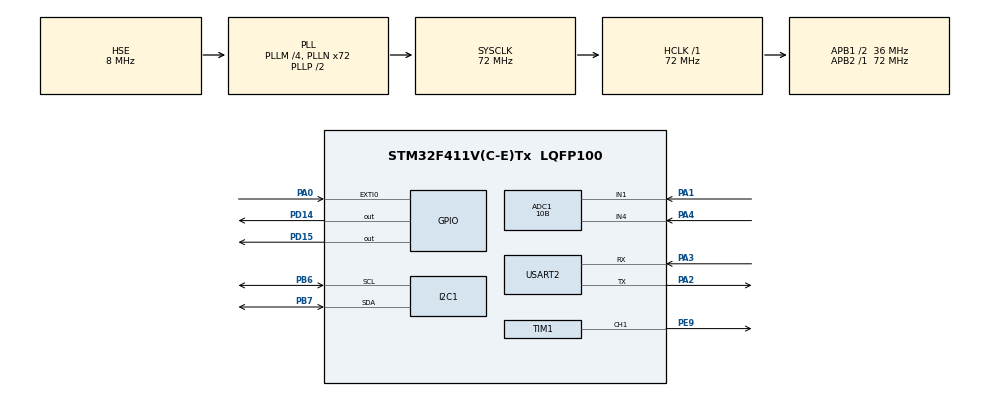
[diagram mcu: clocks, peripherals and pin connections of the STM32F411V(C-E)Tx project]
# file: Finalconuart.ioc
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ADC1.Channel-0\#ChannelRegularConversion=ADC_CHANNEL_4
ADC1.Channel-1\#ChannelRegularConversion=ADC_CHANNEL_1
ADC1.ContinuousConvMode=ENABLE
ADC1.NbrOfConversion=2
ADC1.NbrOfConversionFlag=1
ADC1.Rank-0\#ChannelRegularConversion=1
ADC1.Rank-1\#ChannelRegularConversion=2
ADC1.Resolution=ADC_RESOLUTION_10B
ADC1.SamplingTime-0\#ChannelRegularConversion=ADC_SAMPLETIME_3CYCLES
ADC1.SamplingTime-1\#ChannelRegularConversion=ADC_SAMPLETIME_3CYCLES
ADC1.ScanConvMode=ENABLE
ADC1.master=1
Dma.ADC1.0.Direction=DMA_PERIPH_TO_MEMORY
Dma.ADC1.0.FIFOMode=DMA_FIFOMODE_DISABLE
Dma.ADC1.0.Instance=DMA2_Stream0
Dma.ADC1.0.MemDataAlignment=DMA_MDATAALIGN_WORD
Dma.ADC1.0.MemInc=DMA_MINC_ENABLE
Dma.ADC1.0.Mode=DMA_CIRCULAR
Dma.ADC1.0.PeriphDataAlignment=DMA_PDATAALIGN_WORD
Dma.ADC1.0.PeriphInc=DMA_PINC_DISABLE
Dma.ADC1.0.Priority=DMA_PRIORITY_LOW
Dma.Request0=ADC1
Mcu.Family=STM32F4
Mcu.Name=STM32F411V(C-E)Tx
Mcu.Package=LQFP100
NVIC.DMA2_Stream0_IRQn=true\:0\:0\:false\:false\:true\:false\:true\:true
NVIC.EXTI0_IRQn=true\:0\:0\:false\:false\:true\:true\:true\:true
NVIC.PriorityGroup=NVIC_PRIORITYGROUP_0
NVIC.USART2_IRQn=true\:0\:0\:false\:false\:true\:true\:true\:true
PA0-WKUP.Signal=GPXTI0
PA1.Signal=ADCx_IN1
PA13.Mode=Serial_Wire
PA13.Signal=SYS_JTMS-SWDIO
PA14.Mode=Serial_Wire
PA14.Signal=SYS_JTCK-SWCLK
PA2.Mode=Asynchronous
PA2.Signal=USART2_TX
PA3.Mode=Asynchronous
PA3.Signal=USART2_RX
PA4.Signal=ADCx_IN4
PB6.Mode=I2C
PB6.Signal=I2C1_SCL
PB7.Mode=I2C
PB7.Signal=I2C1_SDA
PD14.Signal=GPIO_Output
PD15.Signal=GPIO_Output
PE9.Signal=S_TIM1_CH1
PH0\ -\ OSC_IN.Mode=HSE-External-Oscillator
PH0\ -\ OSC_IN.Signal=RCC_OSC_IN
PH1\ -\ OSC_OUT.Mode=HSE-External-Oscillator
PH1\ -\ OSC_OUT.Signal=RCC_OSC_OUT
ProjectManager.HeapSize=0x200
ProjectManager.StackSize=0x400
ProjectManager.TargetToolchain=STM32CubeIDE
RCC.48MHZClocksFreq_Value=18000000
RCC.AHBFreq_Value=72000000
RCC.APB1CLKDivider=RCC_HCLK_DIV2
RCC.APB1Freq_Value=36000000
RCC.APB1TimFreq_Value=72000000
RCC.APB2Freq_Value=72000000
RCC.APB2TimFreq_Value=72000000
RCC.CortexFreq_Value=72000000
RCC.HCLKFreq_Value=72000000
RCC.HSE_VALUE=8000000
RCC.HSI_VALUE=16000000
RCC.LSE_VALUE=32768
RCC.PLLI2SM=5
RCC.PLLI2SN=200
RCC.PLLM=4
RCC.PLLN=72
RCC.PLLQ=8
RCC.PLLSourceVirtual=RCC_PLLSOURCE_HSE
RCC.SYSCLKFreq_VALUE=72000000
RCC.SYSCLKSource=RCC_SYSCLKSOURCE_PLLCLK
RCC.VCOOutputFreq_Value=144000000
SH.ADCx_IN1.0=ADC1_IN1,IN1
SH.ADCx_IN4.0=ADC1_IN4,IN4
SH.S_TIM1_CH1.0=TIM1_CH1,PWM Generation1 CH1
TIM1.Channel-PWM\ Generation1\ CH1=TIM_CHANNEL_1
TIM1.Period=2000
TIM1.Prescaler=720
TIM1.Pulse-PWM\ Generation1\ CH1=50
USART2.VirtualMode=VM_ASYNC
VP_TIM1_VS_ClockSourceINT.Mode=Internal
board=STM32F411E-DISCO

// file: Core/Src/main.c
/* USER CODE BEGIN Header */
/**
  ******************************************************************************
  * @file           : main.c
  * @brief          : Main program body
  ******************************************************************************
  * @attention
  *
  * Copyright (c) 2023 STMicroelectronics.
  * All rights reserved.
  *
  * This software is licensed under terms that can be found in the LICENSE file
  * in the root directory of this software component.
  * If no LICENSE file comes with this software, it is provided AS-IS.
  *
  ******************************************************************************
  */
/* USER CODE END Header */
#include "main.h"

ADC_HandleTypeDef hadc1;
DMA_HandleTypeDef hdma_adc1;

I2C_HandleTypeDef hi2c1;

TIM_HandleTypeDef htim1;

UART_HandleTypeDef huart2;

void SystemClock_Config(void);
static void MX_GPIO_Init(void);
static void MX_DMA_Init(void);
static void MX_I2C1_Init(void);
static void MX_ADC1_Init(void);
static void MX_USART2_UART_Init(void);
static void MX_TIM1_Init(void);
/* USER CODE BEGIN PFP */
volatile int flag = 0;
int j;
char recibido[1]="";
uint32_t adcbuffer[2],adcvalue[3];
char modo;
char texto1[30]="";
uint16_t PWM;
/* USER CODE END PFP */

/* USER CODE BEGIN 0 */
void HAL_GPIO_EXTI_Callback(uint16_t GPIO_Pin){
			if (GPIO_Pin==GPIO_PIN_0)
			{
				char texto3[30]="Has elegido el modo boton\r\n";
				HAL_UART_Transmit(&huart2, (uint8_t *)texto3, 30,HAL_MAX_DELAY);

					 flag=1;
			}
}

void HAL_UART_TxCpltCallback(UART_HandleTypeDef *huart) {
	char texto2[30]="Buenas, seleccione modo\r\n";

    HAL_UART_Transmit(huart, (uint8_t *)texto2, 30,HAL_MAX_DELAY);

}
void HAL_UART_RxCpltCallback(UART_HandleTypeDef *UartHandle) {
 /* Se recibe el caracter y se pide el siguiente*/

 HAL_UART_Receive_IT(&huart2, (uint8_t *)recibido, 1);
 	 if(UartHandle ->Instance == USART2){
	 modo = recibido[0];
	 switch(modo){
 //if( modo=='1')

    case '1':
	  	    	  	  {
	  	    	  		HAL_GPIO_WritePin(GPIOD, GPIO_PIN_14,0);
	  	    	  	  if((adcbuffer[0]<300) ){
	  	    	  		  //va de 527 a 1023 mas o menos el sensor
	  	    	  		char texto4[50]="Has elegido el sensor de LUMINOSIDAD\r\n";
	  	    	  		HAL_UART_Transmit(&huart2, (uint8_t *)texto4, 50,HAL_MAX_DELAY);
	  	    	  		HAL_GPIO_WritePin(GPIOD, GPIO_PIN_15,0);

	  	    	  		  modo ='0';
	  	    	  		HAL_UART_Transmit_IT(&huart2,(uint8_t *)texto1, 30);

	  	    	  	  }
	  	    	  	  else if((adcbuffer[0]>300) ){
	  	    	  		char texto4[50]="Has elegido el sensor de LUMINOSIDAD\r\n";
	  	    	     	HAL_UART_Transmit(&huart2, (uint8_t *)texto4, 50,HAL_MAX_DELAY);
	  	    	  		HAL_GPIO_WritePin(GPIOD, GPIO_PIN_15,1);
	  	    	  	   HAL_UART_Transmit_IT(&huart2,(uint8_t *)texto1, 30);

	  	    	  		  modo ='0';
	  	    	  			  //}
	  	    	  	  }
	  	    	  	  }
	  	    	  	  break;

    case '2':

    {
    	HAL_GPIO_WritePin(GPIOD, GPIO_PIN_15,0);

	 	 	 	if (adcbuffer[1]>550)
	 	 	 	{

	 	 	 		char texto5[50]="Has elegido el sensor de PRESENCIA\r\n";
	 	 	 		HAL_UART_Transmit(&huart2, (uint8_t *)texto5, 50,HAL_MAX_DELAY);

	 	 	 		HAL_GPIO_WritePin(GPIOD, GPIO_PIN_14,1);
	 	 	 	modo = '0';
	 	 	 	HAL_UART_Transmit_IT(&huart2,(uint8_t *)texto1, 30);
	 	 	 	}
	 	 	 	else if(adcbuffer[1]<550)
	 	 	 			{
	 	 	 		char texto5[50]="Has elegido el sensor de PRESENCIA\r\n";
	 	 	 		HAL_UART_Transmit(&huart2, (uint8_t *)texto5, 50,HAL_MAX_DELAY);
	 	 	 		        HAL_GPIO_WritePin(GPIOD, GPIO_PIN_14,0);
	 	 	 			    modo = '0';
	 	 	 			 	HAL_UART_Transmit_IT(&huart2,(uint8_t *)texto1, 30);

	 	 	 			}

 	 }
    break;
	 }
 }
}

/* USER CODE END 0 */

int main(void)
{

  /* MCU Configuration--------------------------------------------------------*/

  /* Reset of all peripherals, Initializes the Flash interface and the Systick. */
  HAL_Init();

  /* Configure the system clock */
  SystemClock_Config();

  /* Initialize all configured peripherals */
  MX_GPIO_Init();
  MX_DMA_Init();
  MX_I2C1_Init();
  MX_ADC1_Init();
  MX_USART2_UART_Init();
  MX_TIM1_Init();
  /* USER CODE BEGIN 2 */
  HAL_TIM_PWM_Start(&htim1, TIM_CHANNEL_1);
  int contador=0;
        lcd_init();
       lcd_clear();
       lcd_put_cur(0, 0);
       lcd_send_string("Domotica");

    HAL_UART_Receive_IT(&huart2, (uint8_t*)recibido, 1);

    HAL_UART_Transmit_IT(&huart2,(uint8_t *)texto1, 30);

  /* USER CODE END 2 */

  /* Infinite loop */
  while (1)
  {

    /* USER CODE BEGIN 3 */
	  HAL_ADC_Start_DMA(&hadc1, adcbuffer, 2);
	  if(flag==1)
	  {
		  HAL_GPIO_WritePin(GPIOD, GPIO_PIN_15,0);
		  HAL_GPIO_WritePin(GPIOD, GPIO_PIN_14,0);
		  j=0;
		  if(contador%2==0)
		  {
			  for(int i=0;i<90;i++)
					  {
						  __HAL_TIM_SET_COMPARE(&htim1,TIM_CHANNEL_1,i);
						  HAL_Delay(10);
						  j++;
					  }

					  HAL_UART_Transmit_IT(&huart2,(uint8_t *)texto1, 30);
					  flag=0;
					  contador++;

		  }
		  else
		  {
			  for(int i=90;i>0;i--)
								  {
									  __HAL_TIM_SET_COMPARE(&htim1,TIM_CHANNEL_1,i);
									  HAL_Delay(10);
									  j++;
								  }
								  HAL_UART_Transmit_IT(&huart2,(uint8_t *)texto1, 30);
								  flag=0;
								  contador++;

		  }

	  }

  }
  /* USER CODE END 3 */
}

void SystemClock_Config(void)
{
  RCC_OscInitTypeDef RCC_OscInitStruct = {0};
  RCC_ClkInitTypeDef RCC_ClkInitStruct = {0};

  /** Configure the main internal regulator output voltage
  */
  __HAL_RCC_PWR_CLK_ENABLE();
  __HAL_PWR_VOLTAGESCALING_CONFIG(PWR_REGULATOR_VOLTAGE_SCALE1);

  /** Initializes the RCC Oscillators according to the specified parameters
  * in the RCC_OscInitTypeDef structure.
  */
  RCC_OscInitStruct.OscillatorType = RCC_OSCILLATORTYPE_HSE;
  RCC_OscInitStruct.HSEState = RCC_HSE_ON;
  RCC_OscInitStruct.PLL.PLLState = RCC_PLL_ON;
  RCC_OscInitStruct.PLL.PLLSource = RCC_PLLSOURCE_HSE;
  RCC_OscInitStruct.PLL.PLLM = 4;
  RCC_OscInitStruct.PLL.PLLN = 72;
  RCC_OscInitStruct.PLL.PLLP = RCC_PLLP_DIV2;
  RCC_OscInitStruct.PLL.PLLQ = 8;
  if (HAL_RCC_OscConfig(&RCC_OscInitStruct) != HAL_OK)
  {
    Error_Handler();
  }

  /** Initializes the CPU, AHB and APB buses clocks
  */
  RCC_ClkInitStruct.ClockType = RCC_CLOCKTYPE_HCLK|RCC_CLOCKTYPE_SYSCLK
                              |RCC_CLOCKTYPE_PCLK1|RCC_CLOCKTYPE_PCLK2;
  RCC_ClkInitStruct.SYSCLKSource = RCC_SYSCLKSOURCE_PLLCLK;
  RCC_ClkInitStruct.AHBCLKDivider = RCC_SYSCLK_DIV1;
  RCC_ClkInitStruct.APB1CLKDivider = RCC_HCLK_DIV2;
  RCC_ClkInitStruct.APB2CLKDivider = RCC_HCLK_DIV1;

  if (HAL_RCC_ClockConfig(&RCC_ClkInitStruct, FLASH_LATENCY_2) != HAL_OK)
  {
    Error_Handler();
  }
}

static void MX_ADC1_Init(void)
{

  ADC_ChannelConfTypeDef sConfig = {0};

  /** Configure the global features of the ADC (Clock, Resolution, Data Alignment and number of conversion)
  */
  hadc1.Instance = ADC1;
  hadc1.Init.ClockPrescaler = ADC_CLOCK_SYNC_PCLK_DIV2;
  hadc1.Init.Resolution = ADC_RESOLUTION_10B;
  hadc1.Init.ScanConvMode = ENABLE;
  hadc1.Init.ContinuousConvMode = ENABLE;
  hadc1.Init.DiscontinuousConvMode = DISABLE;
  hadc1.Init.ExternalTrigConvEdge = ADC_EXTERNALTRIGCONVEDGE_NONE;
  hadc1.Init.ExternalTrigConv = ADC_SOFTWARE_START;
  hadc1.Init.DataAlign = ADC_DATAALIGN_RIGHT;
  hadc1.Init.NbrOfConversion = 2;
  hadc1.Init.DMAContinuousRequests = DISABLE;
  hadc1.Init.EOCSelection = ADC_EOC_SINGLE_CONV;
  if (HAL_ADC_Init(&hadc1) != HAL_OK)
  {
    Error_Handler();
  }

  /** Configure for the selected ADC regular channel its corresponding rank in the sequencer and its sample time.
  */
  sConfig.Channel = ADC_CHANNEL_4;
  sConfig.Rank = 1;
  sConfig.SamplingTime = ADC_SAMPLETIME_3CYCLES;
  if (HAL_ADC_ConfigChannel(&hadc1, &sConfig) != HAL_OK)
  {
    Error_Handler();
  }

  /** Configure for the selected ADC regular channel its corresponding rank in the sequencer and its sample time.
  */
  sConfig.Channel = ADC_CHANNEL_1;
  sConfig.Rank = 2;
  if (HAL_ADC_ConfigChannel(&hadc1, &sConfig) != HAL_OK)
  {
    Error_Handler();
  }

}

static void MX_I2C1_Init(void)
{

  hi2c1.Instance = I2C1;
  hi2c1.Init.ClockSpeed = 100000;
  hi2c1.Init.DutyCycle = I2C_DUTYCYCLE_2;
  hi2c1.Init.OwnAddress1 = 0;
  hi2c1.Init.AddressingMode = I2C_ADDRESSINGMODE_7BIT;
  hi2c1.Init.DualAddressMode = I2C_DUALADDRESS_DISABLE;
  hi2c1.Init.OwnAddress2 = 0;
  hi2c1.Init.GeneralCallMode = I2C_GENERALCALL_DISABLE;
  hi2c1.Init.NoStretchMode = I2C_NOSTRETCH_DISABLE;
  if (HAL_I2C_Init(&hi2c1) != HAL_OK)
  {
    Error_Handler();
  }

}

static void MX_TIM1_Init(void)
{

  TIM_ClockConfigTypeDef sClockSourceConfig = {0};
  TIM_MasterConfigTypeDef sMasterConfig = {0};
  TIM_OC_InitTypeDef sConfigOC = {0};
  TIM_BreakDeadTimeConfigTypeDef sBreakDeadTimeConfig = {0};

  htim1.Instance = TIM1;
  htim1.Init.Prescaler = 720;
  htim1.Init.CounterMode = TIM_COUNTERMODE_UP;
  htim1.Init.Period = 2000;
  htim1.Init.ClockDivision = TIM_CLOCKDIVISION_DIV1;
  htim1.Init.RepetitionCounter = 0;
  htim1.Init.AutoReloadPreload = TIM_AUTORELOAD_PRELOAD_DISABLE;
  if (HAL_TIM_Base_Init(&htim1) != HAL_OK)
  {
    Error_Handler();
  }
  sClockSourceConfig.ClockSource = TIM_CLOCKSOURCE_INTERNAL;
  if (HAL_TIM_ConfigClockSource(&htim1, &sClockSourceConfig) != HAL_OK)
  {
    Error_Handler();
  }
  if (HAL_TIM_PWM_Init(&htim1) != HAL_OK)
  {
    Error_Handler();
  }
  sMasterConfig.MasterOutputTrigger = TIM_TRGO_RESET;
  sMasterConfig.MasterSlaveMode = TIM_MASTERSLAVEMODE_DISABLE;
  if (HAL_TIMEx_MasterConfigSynchronization(&htim1, &sMasterConfig) != HAL_OK)
  {
    Error_Handler();
  }
  sConfigOC.OCMode = TIM_OCMODE_PWM1;
  sConfigOC.Pulse = 50;
  sConfigOC.OCPolarity = TIM_OCPOLARITY_HIGH;
  sConfigOC.OCNPolarity = TIM_OCNPOLARITY_HIGH;
  sConfigOC.OCFastMode = TIM_OCFAST_DISABLE;
  sConfigOC.OCIdleState = TIM_OCIDLESTATE_RESET;
  sConfigOC.OCNIdleState = TIM_OCNIDLESTATE_RESET;
  if (HAL_TIM_PWM_ConfigChannel(&htim1, &sConfigOC, TIM_CHANNEL_1) != HAL_OK)
  {
    Error_Handler();
  }
  sBreakDeadTimeConfig.OffStateRunMode = TIM_OSSR_DISABLE;
  sBreakDeadTimeConfig.OffStateIDLEMode = TIM_OSSI_DISABLE;
  sBreakDeadTimeConfig.LockLevel = TIM_LOCKLEVEL_OFF;
  sBreakDeadTimeConfig.DeadTime = 0;
  sBreakDeadTimeConfig.BreakState = TIM_BREAK_DISABLE;
  sBreakDeadTimeConfig.BreakPolarity = TIM_BREAKPOLARITY_HIGH;
  sBreakDeadTimeConfig.AutomaticOutput = TIM_AUTOMATICOUTPUT_DISABLE;
  if (HAL_TIMEx_ConfigBreakDeadTime(&htim1, &sBreakDeadTimeConfig) != HAL_OK)
  {
    Error_Handler();
  }
  HAL_TIM_MspPostInit(&htim1);

}

static void MX_USART2_UART_Init(void)
{

  huart2.Instance = USART2;
  huart2.Init.BaudRate = 115200;
  huart2.Init.WordLength = UART_WORDLENGTH_8B;
  huart2.Init.StopBits = UART_STOPBITS_1;
  huart2.Init.Parity = UART_PARITY_NONE;
  huart2.Init.Mode = UART_MODE_TX_RX;
  huart2.Init.HwFlowCtl = UART_HWCONTROL_NONE;
  huart2.Init.OverSampling = UART_OVERSAMPLING_16;
  if (HAL_UART_Init(&huart2) != HAL_OK)
  {
    Error_Handler();
  }

}

static void MX_DMA_Init(void)
{

  /* DMA controller clock enable */
  __HAL_RCC_DMA2_CLK_ENABLE();

  /* DMA interrupt init */
  /* DMA2_Stream0_IRQn interrupt configuration */
  HAL_NVIC_SetPriority(DMA2_Stream0_IRQn, 0, 0);
  HAL_NVIC_EnableIRQ(DMA2_Stream0_IRQn);

}

static void MX_GPIO_Init(void)
{
  GPIO_InitTypeDef GPIO_InitStruct = {0};

  /* GPIO Ports Clock Enable */
  __HAL_RCC_GPIOH_CLK_ENABLE();
  __HAL_RCC_GPIOA_CLK_ENABLE();
  __HAL_RCC_GPIOE_CLK_ENABLE();
  __HAL_RCC_GPIOD_CLK_ENABLE();
  __HAL_RCC_GPIOB_CLK_ENABLE();

  /*Configure GPIO pin Output Level */
  HAL_GPIO_WritePin(GPIOD, GPIO_PIN_14|GPIO_PIN_15, GPIO_PIN_RESET);

  /*Configure GPIO pin : PA0 */
  GPIO_InitStruct.Pin = GPIO_PIN_0;
  GPIO_InitStruct.Mode = GPIO_MODE_IT_RISING;
  GPIO_InitStruct.Pull = GPIO_NOPULL;
  HAL_GPIO_Init(GPIOA, &GPIO_InitStruct);

  /*Configure GPIO pins : PD14 PD15 */
  GPIO_InitStruct.Pin = GPIO_PIN_14|GPIO_PIN_15;
  GPIO_InitStruct.Mode = GPIO_MODE_OUTPUT_PP;
  GPIO_InitStruct.Pull = GPIO_NOPULL;
  GPIO_InitStruct.Speed = GPIO_SPEED_FREQ_LOW;
  HAL_GPIO_Init(GPIOD, &GPIO_InitStruct);

  /* EXTI interrupt init*/
  HAL_NVIC_SetPriority(EXTI0_IRQn, 0, 0);
  HAL_NVIC_EnableIRQ(EXTI0_IRQn);

}

void Error_Handler(void)
{
  __disable_irq();
  while (1)
  {
  }
}
